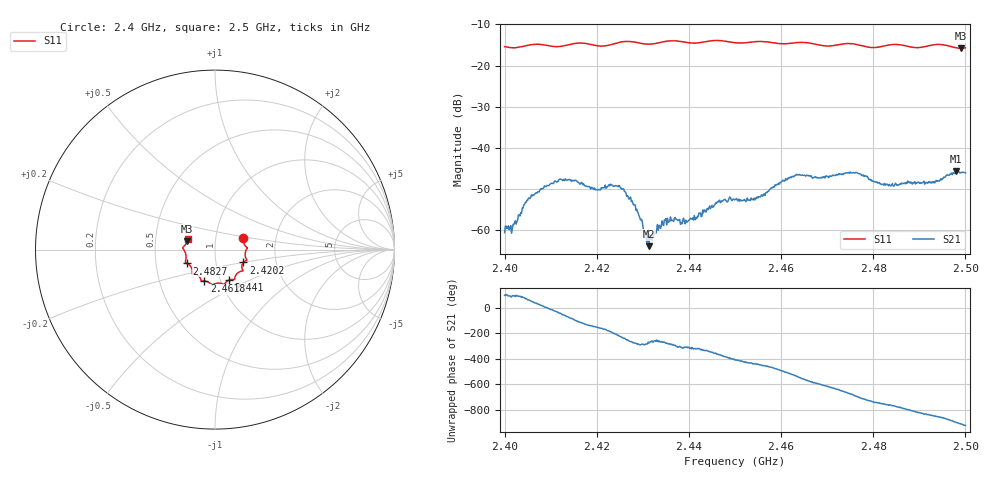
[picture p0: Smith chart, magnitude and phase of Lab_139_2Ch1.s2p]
# Hz S RI R 50
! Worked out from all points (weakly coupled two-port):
!   601 points, 2.4 GHz to 2.5 GHz, reference 50 ohm
!   highest |S21| = -45.64 dB at 2.498 GHz (marker M1); lowest = -63.8 dB at 2.4313 GHz (marker M2)
!   lowest |S11| = -15.8 dB at 2.499 GHz (marker M3), VSWR 1.39, Z = 36.4 + j3.51 ohm
!   |S11| at or under -10 dB: start of sweep to end of sweep
!   S12 and S22 are empty: the file has one direction only
!   S11 on the Smith chart (normalised r, x): 2.4 GHz: 1.36, +0.18; 2.4202 GHz: 1.36, -0.20; 2.441 GHz: 1.10, -0.39; 2.4618 GHz: 0.84, -0.30; 2.4827 GHz: 0.72, -0.11; 2.5 GHz: 0.73, +0.09
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2.4e9  0.1576 0.0625  -0.000103 0.000932  0 0  0 0
2.402e9  0.1595 0.0388  -4.57e-05 0.00118  0 0  0 0
2.408333e9  0.1787 0.00527  0.00316 0.000586  0 0  0 0
2.412333e9  0.1681 -0.0325  0.00263 -0.00321  0 0  0 0
2.416667e9  0.1775 -0.0603  -0.00185 -0.00335  0 0  0 0
2.420167e9  0.1579 -0.0715  -0.0028 -0.00129  0 0  0 0
2.425333e9  0.155 -0.1152  -0.00202 0.00248  0 0  0 0
2.427833e9  0.1527 -0.1192  0.000225 0.00213  0 0  0 0
2.431333e9  0.1232 -0.1331  8.41e-05 0.000639  0 0  0 0
2.433333e9  0.1116 -0.1509  -3.21e-05 0.001  0 0  0 0
2.441e9  0.0781 -0.17  0.00109 0.000774  0 0  0 0
2.45e9  0.028 -0.1872  0.00143 -0.00186  0 0  0 0
2.454167e9  -0.00833 -0.1938  0.000318 -0.00245  0 0  0 0
2.461833e9  -0.0597 -0.1756  -0.00408 -0.00167  0 0  0 0
2.466667e9  -0.0785 -0.1679  -0.00327 0.00299  0 0  0 0
2.476167e9  -0.1272 -0.1296  0.00452 0.00221  0 0  0 0
2.482667e9  -0.1563 -0.0772  0.00271 -0.00227  0 0  0 0
2.483333e9  -0.1605 -0.0753  0.00237 -0.00254  0 0  0 0
2.492833e9  -0.1774 0.00386  -0.00231 -0.00314  0 0  0 0
2.498e9  -0.1609 0.0341  -0.00522 5.16e-05  0 0  0 0
2.499e9  -0.1552 0.047  -0.00494 0.00101  0 0  0 0
2.5e9  -0.1522 0.0612  -0.00455 0.00209  0 0  0 0
